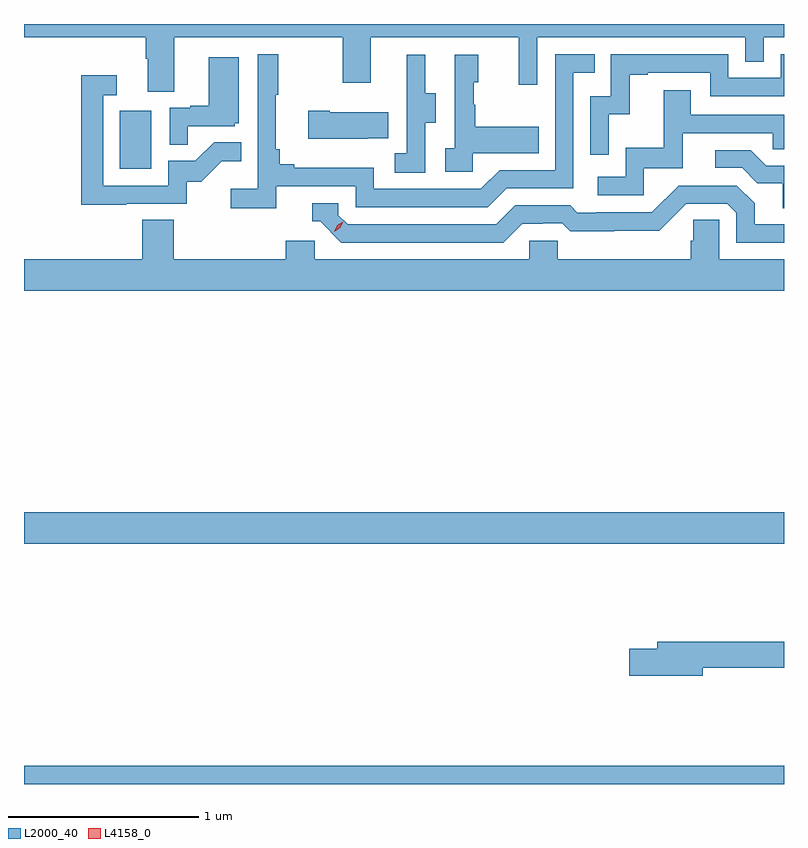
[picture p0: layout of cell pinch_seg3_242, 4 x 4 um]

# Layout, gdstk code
import gdstk
lib = gdstk.Library(unit=1e-6, precision=1e-09)
def R(c, l, rs):  # rectangles x0, y0, x1, y1
    for r in rs: c.add(gdstk.rectangle(r[:2], r[2:], *l))
def P(c, l, *ps):  # polygons
    for p in ps: c.add(gdstk.Polygon(p, *l))
L2000_40 = (2000, 40)
L4158_0 = (4158, 0)

pinch_seg3_242 = lib.new_cell('pinch_seg3_242')
R(pinch_seg3_242, L2000_40, [(911.623,727.623,915.623,727.72), (911.623,728.888,915.623,729.052), (912.128,730.86,912.292,731.167)])
P(pinch_seg3_242, L2000_40, [(912.415,731.552),(913.3,731.552),(913.3,731.313),(913.447,731.313),(913.447,731.552),(914.228,731.552),(914.228,731.304),(914.325,731.304),(914.325,731.552),(915.42,731.552),(915.42,731.425),(915.516,731.425),(915.516,731.552),(915.623,731.552),(915.623,731.623),(911.623,731.623),(911.623,731.552),(912.263,731.552),(912.263,731.44),(912.275,731.44),(912.275,731.266),(912.415,731.266)],
  [(912.95,730.77),(913.368,730.77),(913.368,730.659),(914.065,730.659),(914.164,730.758),(914.514,730.758),(914.514,731.367),(914.627,731.367),(914.627,731.463),(914.418,731.463),(914.418,730.854),(914.127,730.854),(914.028,730.755),(913.464,730.755),(913.464,730.867),(913.045,730.867),(913.045,730.886),(912.968,730.886),(912.968,730.963),(912.949,730.963),(912.949,731.251),(912.961,731.251),(912.961,731.464),(912.852,731.464),(912.852,730.756),(912.711,730.756),(912.711,730.654),(912.95,730.654)],
  [(914.7,731.147),(914.81,731.147),(914.81,731.355),(914.905,731.355),(914.905,731.367),(915.234,731.367),(915.234,731.244),(915.623,731.244),(915.623,731.463),(915.606,731.463),(915.606,731.34),(915.33,731.34),(915.33,731.463),(914.712,731.463),(914.712,731.244),(914.604,731.244),(914.604,730.935),(914.7,730.935)],
  [(913.986,730.943),(914.333,730.943),(914.333,731.083),(913.999,731.083),(913.999,731.198),(913.989,731.198),(913.989,731.316),(914.014,731.316),(914.014,731.461),(913.89,731.461),(913.89,730.97),(913.839,730.97),(913.839,730.845),(913.986,730.845)],
  [(913.734,731.104),(913.789,731.104),(913.789,731.259),(913.735,731.259),(913.735,731.461),(913.637,731.461),(913.637,731.247),(913.638,731.247),(913.638,730.943),(913.575,730.943),(913.575,730.84),(913.734,730.84)],
  [(912.485,731.085),(912.732,731.085),(912.732,731.1),(912.754,731.1),(912.754,731.449),(912.596,731.449),(912.596,731.194),(912.497,731.194),(912.497,731.181),(912.39,731.181),(912.39,730.987),(912.485,730.987)],
  [(912.161,730.677),(912.48,730.677),(912.48,730.794),(912.556,730.794),(912.663,730.901),(912.767,730.901),(912.767,731),(912.623,731),(912.525,730.902),(912.381,730.902),(912.381,730.773),(912.039,730.773),(912.039,731.247),(912.112,731.247),(912.112,731.353),(911.923,731.353),(911.923,730.672),(912.161,730.672)],
  [(914.886,730.863),(915.091,730.863),(915.091,731.049),(915.565,731.049),(915.565,730.965),(915.623,730.965),(915.623,731.145),(915.133,731.145),(915.133,731.275),(914.989,731.275),(914.989,730.972),(914.79,730.972),(914.79,730.818),(914.643,730.818),(914.643,730.722),(914.886,730.722)],
  [(913.433,731.021),(913.541,731.021),(913.541,731.158),(913.231,731.158),(913.231,731.166),(913.119,731.166),(913.119,731.018),(913.433,731.018)],
  [(915.623,730.878),(915.529,730.878),(915.448,730.959),(915.261,730.959),(915.261,730.866),(915.402,730.866),(915.482,730.786),(915.617,730.786),(915.617,730.654),(915.623,730.654)],
  [(914.245,730.572),(914.352,730.572),(914.352,730.575),(914.455,730.575),(914.497,730.533),(914.73,730.533),(914.73,730.535),(914.966,730.535),(915.108,730.677),(915.324,730.677),(915.372,730.629),(915.372,730.473),(915.623,730.473),(915.623,730.569),(915.469,730.569),(915.469,730.679),(915.375,730.773),(915.069,730.773),(914.928,730.632),(914.635,730.632),(914.635,730.629),(914.536,730.629),(914.497,730.668),(914.208,730.668),(914.109,730.569),(913.326,730.569),(913.278,730.617),(913.278,730.68),(913.139,730.68),(913.139,730.584),(913.182,730.584),(913.293,730.473),(914.146,730.473)],
  [(915.623,730.384),(915.282,730.384),(915.282,730.592),(915.145,730.592),(915.145,730.482),(915.131,730.482),(915.131,730.384),(914.433,730.384),(914.433,730.482),(914.283,730.482),(914.283,730.384),(913.152,730.384),(913.152,730.482),(913.001,730.482),(913.001,730.384),(912.41,730.384),(912.41,730.592),(912.245,730.592),(912.245,730.384),(911.623,730.384),(911.623,730.22),(915.623,730.22)],
  [(915.196,728.236),(915.623,728.236),(915.623,728.372),(914.957,728.372),(914.957,728.336),(914.808,728.336),(914.808,728.194),(915.196,728.194)])
P(pinch_seg3_242, L4158_0, [(913.256,730.53),(913.256,730.53),(913.272,730.563),(913.302,730.583),(913.302,730.583),(913.302,730.582),(913.287,730.55),(913.256,730.53)])

lib.write_gds('pinch_seg3_242.gds')
